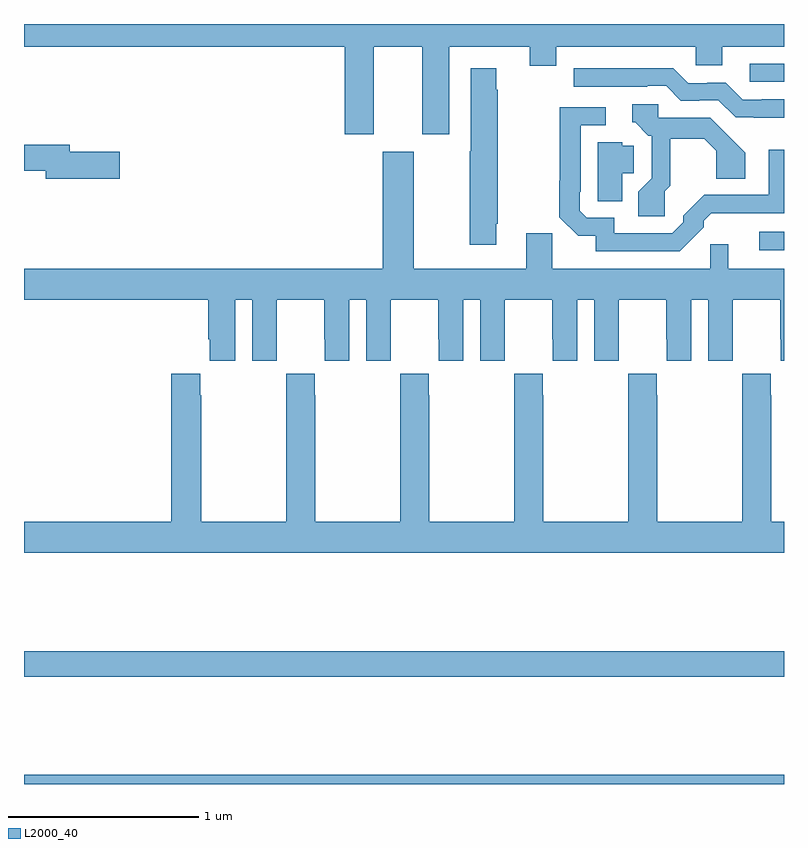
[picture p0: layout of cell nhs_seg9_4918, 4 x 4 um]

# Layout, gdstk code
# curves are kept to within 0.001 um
import gdstk
lib = gdstk.Library(unit=1e-6, precision=1e-09)
def R(c, l, rs):  # rectangles x0, y0, x1, y1
    for r in rs: c.add(gdstk.rectangle(r[:2], r[2:], *l))
def P(c, l, *ps):  # polygons
    for p in ps: c.add(gdstk.Polygon(p, *l))
L2000_40 = (2000, 40)

nhs_seg9_4918 = lib.new_cell('nhs_seg9_4918')
R(nhs_seg9_4918, L2000_40, [(395,1232.5,399,1232.548), (395,1233.064,399,1233.2), (398.871,1235.31,399,1235.406), (398.82,1236.195,399,1236.291)])
P(nhs_seg9_4918, L2000_40, [(396.841,1236.38),(397.097,1236.38),(397.097,1235.919),(397.237,1235.919),(397.237,1236.38),(397.661,1236.38),(397.661,1236.281),(397.801,1236.281),(397.801,1236.38),(398.535,1236.38),(398.535,1236.282),(398.674,1236.282),(398.674,1236.38),(399,1236.38),(399,1236.5),(395,1236.5),(395,1236.38),(396.689,1236.38),(396.689,1235.919),(396.841,1235.919)],
  [(397.486,1235.449),(397.494,1235.449),(397.494,1236.155),(397.486,1236.155),(397.486,1236.268),(397.352,1236.268),(397.352,1235.831),(397.345,1235.831),(397.345,1235.337),(397.486,1235.337)],
  [(399,1236.105),(398.884,1236.105),(398.884,1236.102),(398.784,1236.102),(398.694,1236.192),(398.597,1236.192),(398.597,1236.189),(398.496,1236.189),(398.417,1236.268),(397.893,1236.267),(397.893,1236.171),(398.279,1236.171),(398.279,1236.174),(398.379,1236.174),(398.457,1236.096),(398.555,1236.096),(398.555,1236.099),(398.655,1236.099),(398.745,1236.009),(398.842,1236.009),(398.842,1236.006),(399,1236.006)],
  [(398.373,1235.621),(398.402,1235.65),(398.402,1235.895),(398.581,1235.895),(398.643,1235.834),(398.643,1235.686),(398.797,1235.686),(398.797,1235.822),(398.611,1236.006),(398.337,1236.006),(398.337,1236.078),(398.201,1236.078),(398.201,1235.982),(398.217,1235.982),(398.286,1235.913),(398.304,1235.913),(398.304,1235.688),(398.234,1235.618),(398.234,1235.487),(398.373,1235.487)],
  [(398.578,1235.429),(398.578,1235.464),(398.618,1235.504),(399,1235.505),(399,1235.839),(398.919,1235.839),(398.919,1235.601),(398.579,1235.601),(398.469,1235.491),(398.469,1235.457),(398.412,1235.4),(398.106,1235.4),(398.106,1235.481),(397.962,1235.481),(397.926,1235.517),(397.926,1235.617),(397.929,1235.617),(397.929,1235.967),(398.062,1235.967),(398.062,1236.063),(397.821,1236.063),(397.821,1235.675),(397.818,1235.675),(397.818,1235.484),(397.918,1235.385),(398.008,1235.385),(398.008,1235.304),(398.452,1235.304)],
  [(398.149,1235.714),(398.208,1235.714),(398.208,1235.859),(398.148,1235.859),(398.148,1235.878),(398.019,1235.878),(398.019,1235.566),(398.149,1235.566)],
  [(395.503,1235.828),(395.242,1235.828),(395.242,1235.864),(395,1235.864),(395,1235.728),(395.114,1235.728),(395.114,1235.686),(395.503,1235.686)],
  [(396.112,1235.048),(396.2,1235.048),(396.2,1234.728),(396.33,1234.728),(396.33,1234.84),(396.331,1234.84),(396.331,1235.048),(396.581,1235.048),(396.581,1234.84),(396.582,1234.84),(396.582,1234.728),(396.712,1234.728),(396.712,1235.048),(396.8,1235.048),(396.8,1234.728),(396.93,1234.728),(396.93,1234.84),(396.931,1234.84),(396.931,1235.048),(397.181,1235.048),(397.181,1234.84),(397.182,1234.84),(397.182,1234.728),(397.312,1234.728),(397.312,1235.048),(397.4,1235.048),(397.4,1234.728),(397.53,1234.728),(397.53,1234.84),(397.531,1234.84),(397.531,1235.048),(397.781,1235.048),(397.781,1234.84),(397.782,1234.84),(397.782,1234.728),(397.912,1234.728),(397.912,1235.048),(398,1235.048),(398,1234.728),(398.13,1234.728),(398.13,1234.84),(398.131,1234.84),(398.131,1235.048),(398.381,1235.048),(398.381,1234.84),(398.382,1234.84),(398.382,1234.728),(398.512,1234.728),(398.512,1235.048),(398.6,1235.048),(398.6,1234.728),(398.73,1234.728),(398.73,1234.84),(398.731,1234.84),(398.731,1235.048),(398.981,1235.048),(398.981,1234.84),(398.982,1234.84),(398.982,1234.728),(399,1234.728),(399,1235.212),(398.707,1235.212),(398.707,1235.342),(398.611,1235.342),(398.611,1235.212),(397.781,1235.212),(397.781,1235.4),(397.643,1235.4),(397.643,1235.212),(397.051,1235.212),(397.051,1235.827),(396.887,1235.827),(396.887,1235.212),(395,1235.212),(395,1235.048),(395.969,1235.048),(395.969,1234.84),(395.978,1234.84),(395.978,1234.728),(396.112,1234.728)],
  [(399,1233.88),(398.934,1233.88),(398.934,1234.547),(398.931,1234.547),(398.931,1234.66),(398.781,1234.66),(398.781,1234.547),(398.779,1234.547),(398.779,1233.88),(398.334,1233.88),(398.334,1234.547),(398.331,1234.547),(398.331,1234.66),(398.181,1234.66),(398.181,1234.547),(398.179,1234.547),(398.179,1233.88),(397.734,1233.88),(397.734,1234.547),(397.731,1234.547),(397.731,1234.66),(397.581,1234.66),(397.581,1234.547),(397.579,1234.547),(397.579,1233.88),(397.134,1233.88),(397.134,1234.547),(397.131,1234.547),(397.131,1234.66),(396.981,1234.66),(396.981,1234.547),(396.979,1234.547),(396.979,1233.88),(396.534,1233.88),(396.534,1234.547),(396.531,1234.547),(396.531,1234.66),(396.381,1234.66),(396.381,1234.547),(396.379,1234.547),(396.379,1233.88),(395.934,1233.88),(395.934,1234.547),(395.927,1234.547),(395.927,1234.66),(395.774,1234.66),(395.774,1233.88),(395,1233.88),(395,1233.716),(399,1233.716)])

lib.write_gds('nhs_seg9_4918.gds')
